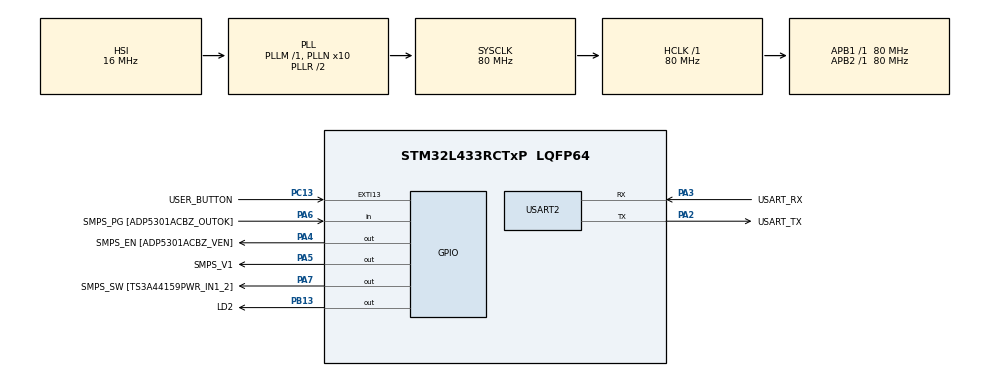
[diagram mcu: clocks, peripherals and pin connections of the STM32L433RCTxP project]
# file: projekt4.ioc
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Mcu.Family=STM32L4
Mcu.Name=STM32L433RCTxP
Mcu.Package=LQFP64
NVIC.EXTI15_10_IRQn=true\:8\:0\:true\:false\:true\:true\:true\:true
NVIC.PriorityGroup=NVIC_PRIORITYGROUP_4
NVIC.USART2_IRQn=true\:12\:0\:true\:false\:true\:true\:true\:true
PA13\ (JTMS-SWDIO).GPIO_Label=TMS
PA13\ (JTMS-SWDIO).Mode=Serial_Wire
PA13\ (JTMS-SWDIO).Signal=SYS_JTMS-SWDIO
PA14\ (JTCK-SWCLK).GPIO_Label=TCK
PA14\ (JTCK-SWCLK).Mode=Serial_Wire
PA14\ (JTCK-SWCLK).Signal=SYS_JTCK-SWCLK
PA2.GPIO_Label=USART_TX
PA2.GPIO_Mode=GPIO_MODE_AF_PP
PA2.GPIO_PuPd=GPIO_NOPULL
PA2.GPIO_Speed=GPIO_SPEED_FREQ_VERY_HIGH
PA2.Mode=Asynchronous
PA2.Signal=USART2_TX
PA3.GPIO_Label=USART_RX
PA3.GPIO_Mode=GPIO_MODE_AF_PP
PA3.GPIO_PuPd=GPIO_NOPULL
PA3.GPIO_Speed=GPIO_SPEED_FREQ_VERY_HIGH
PA3.Mode=Asynchronous
PA3.Signal=USART2_RX
PA4.GPIO_Label=SMPS_EN [ADP5301ACBZ_VEN]
PA4.Signal=GPIO_Output
PA5.GPIO_Label=SMPS_V1
PA5.GPIO_ModeDefaultOutputPP=GPIO_MODE_OUTPUT_PP
PA5.GPIO_PuPd=GPIO_NOPULL
PA5.GPIO_Speed=GPIO_SPEED_FREQ_LOW
PA5.Signal=GPIO_Output
PA6.GPIO_Label=SMPS_PG [ADP5301ACBZ_OUTOK]
PA6.GPIO_PuPd=GPIO_PULLUP
PA6.Signal=GPIO_Input
PA7.GPIO_Label=SMPS_SW [TS3A44159PWR_IN1_2]
PA7.Signal=GPIO_Output
PB13.GPIO_Label=LD2
PB13.Signal=GPIO_Output
PB3\ (JTDO-TRACESWO).GPIO_Label=SWO
PB3\ (JTDO-TRACESWO).Signal=SYS_JTDO-SWO
PC13.GPIO_Label=USER_BUTTON
PC13.GPIO_ModeDefaultEXTI=GPIO_MODE_IT_FALLING
PC13.Signal=GPXTI13
PC14-OSC32_IN\ (PC14).Mode=LSE-External-Oscillator
PC14-OSC32_IN\ (PC14).Signal=RCC_OSC32_IN
PC15-OSC32_OUT\ (PC15).Mode=LSE-External-Oscillator
PC15-OSC32_OUT\ (PC15).Signal=RCC_OSC32_OUT
PH0-OSC_IN\ (PH0).GPIO_Label=MCO
PH0-OSC_IN\ (PH0).Mode=HSE-External-Clock-Source
PH0-OSC_IN\ (PH0).Signal=RCC_OSC_IN
PH1-OSC_OUT\ (PH1).Signal=RCC_OSC_OUT
ProjectManager.HeapSize=0x200
ProjectManager.StackSize=0x400
ProjectManager.TargetToolchain=STM32CubeIDE
RCC.ADCFreq_Value=64000000
RCC.AHBFreq_Value=80000000
RCC.APB1Freq_Value=80000000
RCC.APB1TimFreq_Value=80000000
RCC.APB2Freq_Value=80000000
RCC.APB2TimFreq_Value=80000000
RCC.CortexFreq_Value=80000000
RCC.HCLKFreq_Value=80000000
RCC.HSE_VALUE=8000000
RCC.HSI48_VALUE=48000000
RCC.HSI_VALUE=16000000
RCC.MSI_VALUE=4000000
RCC.PLLN=10
RCC.PLLSourceVirtual=RCC_PLLSOURCE_HSI
RCC.PREFETCH_ENABLE=1
RCC.SYSCLKFreq_VALUE=80000000
RCC.SYSCLKSource=RCC_SYSCLKSOURCE_PLLCLK
RCC.USBFreq_Value=64000000
RCC.VCOOutputFreq_Value=160000000
USART2.VirtualMode-Asynchronous=VM_ASYNC
board=NUCLEO-L433RC-P

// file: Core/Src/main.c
/* USER CODE BEGIN Header */
/**
  ******************************************************************************
  * @file           : main.c
  * @brief          : Main program body
  ******************************************************************************
  * @attention
  *
  * Copyright (c) 2023 STMicroelectronics.
  * All rights reserved.
  *
  * This software is licensed under terms that can be found in the LICENSE file
  * in the root directory of this software component.
  * If no LICENSE file comes with this software, it is provided AS-IS.
  *
  ******************************************************************************
  */
/* USER CODE END Header */
#include "main.h"

/* USER CODE BEGIN Includes */
#include <stdio.h>
#include <string.h>

/* USER CODE END Includes */

UART_HandleTypeDef huart2;

void SystemClock_Config(void);
static void MX_GPIO_Init(void);
static void MX_USART2_UART_Init(void);

/* USER CODE BEGIN 0 */
#define LINE_MAX_LENGTH 80

static char line_buffer[LINE_MAX_LENGTH + 1];
static uint32_t line_length;

void line_append(uint8_t value)
{
  if (value == '\r' || value == '\n') {
    // odebraliśmy znak końca linii
    if (line_length > 0) {
      // dodajemy 0 na końcu linii
      line_buffer[line_length] = '\0';
      // przetwarzamy dane
      if (strcmp(line_buffer, "on") == 0) {
        HAL_GPIO_WritePin(LD2_GPIO_Port, LD2_Pin, GPIO_PIN_SET);
      } else if (strcmp(line_buffer, "off") == 0) {
        HAL_GPIO_WritePin(LD2_GPIO_Port, LD2_Pin, GPIO_PIN_RESET);
      }

      // zaczynamy zbieranie danych od nowa
      line_length = 0;
    }
  }
  else {
    if (line_length >= LINE_MAX_LENGTH) {
      // za dużo danych, usuwamy wszystko co odebraliśmy dotychczas
      line_length = 0;
    }
    // dopisujemy wartość do bufora
    line_buffer[line_length++] = value;
  }
}
/* USER CODE END 0 */

int main(void)
{

  /* MCU Configuration--------------------------------------------------------*/

  /* Reset of all peripherals, Initializes the Flash interface and the Systick. */
  HAL_Init();

  /* Configure the system clock */
  SystemClock_Config();

  /* Initialize all configured peripherals */
  MX_GPIO_Init();
  MX_USART2_UART_Init();
  /* USER CODE BEGIN 2 */
  int __io_putchar(int ch)
  {
    if (ch == '\n') {
      __io_putchar('\r');
    }

    HAL_UART_Transmit(&huart2, (uint8_t*)&ch, 1, HAL_MAX_DELAY);

    return 1;
  }

  /* USER CODE END 2 */

  /* Infinite loop */
  /* USER CODE BEGIN WHILE */

  while (1)
  {
	  uint8_t uart_rx_buffer;

	  void HAL_UART_RxCpltCallback(UART_HandleTypeDef *huart)
	  {
	    if (huart == &huart2) {
	      line_append(uart_rx_buffer);
	      HAL_UART_Receive_IT(&huart2, &uart_rx_buffer, 1);
	    }
	  }

/*
	  if (old_push_counter != push_counter) {
	        old_push_counter = push_counter;
	        printf("counter = %lu\n", old_push_counter);
	      }
*/
    /* USER CODE END WHILE */

  }
}

void SystemClock_Config(void)
{
  RCC_OscInitTypeDef RCC_OscInitStruct = {0};
  RCC_ClkInitTypeDef RCC_ClkInitStruct = {0};

  /** Configure the main internal regulator output voltage
  */
  if (HAL_PWREx_ControlVoltageScaling(PWR_REGULATOR_VOLTAGE_SCALE1) != HAL_OK)
  {
    Error_Handler();
  }

  /** Initializes the RCC Oscillators according to the specified parameters
  * in the RCC_OscInitTypeDef structure.
  */
  RCC_OscInitStruct.OscillatorType = RCC_OSCILLATORTYPE_HSI;
  RCC_OscInitStruct.HSIState = RCC_HSI_ON;
  RCC_OscInitStruct.HSICalibrationValue = RCC_HSICALIBRATION_DEFAULT;
  RCC_OscInitStruct.PLL.PLLState = RCC_PLL_ON;
  RCC_OscInitStruct.PLL.PLLSource = RCC_PLLSOURCE_HSI;
  RCC_OscInitStruct.PLL.PLLM = 1;
  RCC_OscInitStruct.PLL.PLLN = 10;
  RCC_OscInitStruct.PLL.PLLP = RCC_PLLP_DIV7;
  RCC_OscInitStruct.PLL.PLLQ = RCC_PLLQ_DIV2;
  RCC_OscInitStruct.PLL.PLLR = RCC_PLLR_DIV2;
  if (HAL_RCC_OscConfig(&RCC_OscInitStruct) != HAL_OK)
  {
    Error_Handler();
  }

  /** Initializes the CPU, AHB and APB buses clocks
  */
  RCC_ClkInitStruct.ClockType = RCC_CLOCKTYPE_HCLK|RCC_CLOCKTYPE_SYSCLK
                              |RCC_CLOCKTYPE_PCLK1|RCC_CLOCKTYPE_PCLK2;
  RCC_ClkInitStruct.SYSCLKSource = RCC_SYSCLKSOURCE_PLLCLK;
  RCC_ClkInitStruct.AHBCLKDivider = RCC_SYSCLK_DIV1;
  RCC_ClkInitStruct.APB1CLKDivider = RCC_HCLK_DIV1;
  RCC_ClkInitStruct.APB2CLKDivider = RCC_HCLK_DIV1;

  if (HAL_RCC_ClockConfig(&RCC_ClkInitStruct, FLASH_LATENCY_4) != HAL_OK)
  {
    Error_Handler();
  }
}

static void MX_USART2_UART_Init(void)
{

  huart2.Instance = USART2;
  huart2.Init.BaudRate = 115200;
  huart2.Init.WordLength = UART_WORDLENGTH_8B;
  huart2.Init.StopBits = UART_STOPBITS_1;
  huart2.Init.Parity = UART_PARITY_NONE;
  huart2.Init.Mode = UART_MODE_TX_RX;
  huart2.Init.HwFlowCtl = UART_HWCONTROL_NONE;
  huart2.Init.OverSampling = UART_OVERSAMPLING_16;
  huart2.Init.OneBitSampling = UART_ONE_BIT_SAMPLE_DISABLE;
  huart2.AdvancedInit.AdvFeatureInit = UART_ADVFEATURE_NO_INIT;
  if (HAL_UART_Init(&huart2) != HAL_OK)
  {
    Error_Handler();
  }

}

static void MX_GPIO_Init(void)
{
  GPIO_InitTypeDef GPIO_InitStruct = {0};

  /* GPIO Ports Clock Enable */
  __HAL_RCC_GPIOC_CLK_ENABLE();
  __HAL_RCC_GPIOH_CLK_ENABLE();
  __HAL_RCC_GPIOA_CLK_ENABLE();
  __HAL_RCC_GPIOB_CLK_ENABLE();

  /*Configure GPIO pin Output Level */
  HAL_GPIO_WritePin(GPIOA, SMPS_EN_Pin|SMPS_V1_Pin|SMPS_SW_Pin, GPIO_PIN_RESET);

  /*Configure GPIO pin Output Level */
  HAL_GPIO_WritePin(LD2_GPIO_Port, LD2_Pin, GPIO_PIN_RESET);

  /*Configure GPIO pin : USER_BUTTON_Pin */
  GPIO_InitStruct.Pin = USER_BUTTON_Pin;
  GPIO_InitStruct.Mode = GPIO_MODE_IT_FALLING;
  GPIO_InitStruct.Pull = GPIO_NOPULL;
  HAL_GPIO_Init(USER_BUTTON_GPIO_Port, &GPIO_InitStruct);

  /*Configure GPIO pins : SMPS_EN_Pin SMPS_V1_Pin SMPS_SW_Pin */
  GPIO_InitStruct.Pin = SMPS_EN_Pin|SMPS_V1_Pin|SMPS_SW_Pin;
  GPIO_InitStruct.Mode = GPIO_MODE_OUTPUT_PP;
  GPIO_InitStruct.Pull = GPIO_NOPULL;
  GPIO_InitStruct.Speed = GPIO_SPEED_FREQ_LOW;
  HAL_GPIO_Init(GPIOA, &GPIO_InitStruct);

  /*Configure GPIO pin : SMPS_PG_Pin */
  GPIO_InitStruct.Pin = SMPS_PG_Pin;
  GPIO_InitStruct.Mode = GPIO_MODE_INPUT;
  GPIO_InitStruct.Pull = GPIO_PULLUP;
  HAL_GPIO_Init(SMPS_PG_GPIO_Port, &GPIO_InitStruct);

  /*Configure GPIO pin : LD2_Pin */
  GPIO_InitStruct.Pin = LD2_Pin;
  GPIO_InitStruct.Mode = GPIO_MODE_OUTPUT_PP;
  GPIO_InitStruct.Pull = GPIO_NOPULL;
  GPIO_InitStruct.Speed = GPIO_SPEED_FREQ_LOW;
  HAL_GPIO_Init(LD2_GPIO_Port, &GPIO_InitStruct);

  /* EXTI interrupt init*/
  HAL_NVIC_SetPriority(EXTI15_10_IRQn, 8, 0);
  HAL_NVIC_EnableIRQ(EXTI15_10_IRQn);

}

void Error_Handler(void)
{
  __disable_irq();
  while (1)
  {
  }
}
